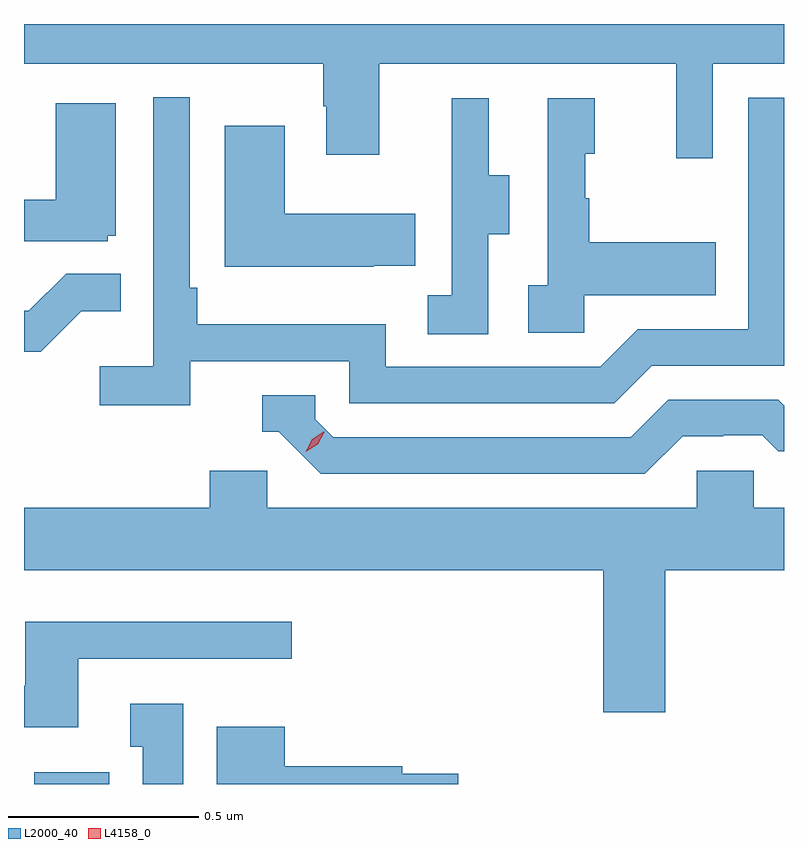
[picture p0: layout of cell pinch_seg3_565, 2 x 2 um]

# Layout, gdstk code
import gdstk
lib = gdstk.Library(unit=1e-6, precision=1e-09)
def R(c, l, rs):  # rectangles x0, y0, x1, y1
    for r in rs: c.add(gdstk.rectangle(r[:2], r[2:], *l))
def P(c, l, *ps):  # polygons
    for p in ps: c.add(gdstk.Polygon(p, *l))
L2000_40 = (2000, 40)
L4158_0 = (4158, 0)

pinch_seg3_565 = lib.new_cell('pinch_seg3_565')
R(pinch_seg3_565, L2000_40, [(1110.563,695.025,1110.76,695.056)])
P(pinch_seg3_565, L2000_40, [(1112.349,696.92),(1112.536,696.92),(1112.536,697.025),(1110.536,697.025),(1110.536,696.92),(1111.324,696.92),(1111.324,696.809),(1111.331,696.809),(1111.331,696.681),(1111.471,696.681),(1111.471,696.92),(1112.252,696.92),(1112.252,696.672),(1112.349,696.672)],
  [(1110.974,696.138),(1111.392,696.138),(1111.392,696.027),(1112.089,696.027),(1112.188,696.126),(1112.536,696.126),(1112.536,696.831),(1112.442,696.831),(1112.442,696.222),(1112.151,696.222),(1112.052,696.123),(1111.488,696.123),(1111.488,696.235),(1110.992,696.235),(1110.992,696.331),(1110.972,696.331),(1110.972,696.832),(1110.876,696.832),(1110.876,696.124),(1110.735,696.124),(1110.735,696.022),(1110.974,696.022)],
  [(1112.01,696.311),(1112.357,696.311),(1112.357,696.451),(1112.023,696.451),(1112.023,696.566),(1112.013,696.566),(1112.013,696.684),(1112.038,696.684),(1112.038,696.829),(1111.914,696.829),(1111.914,696.338),(1111.863,696.338),(1111.863,696.213),(1112.01,696.213)],
  [(1111.758,696.472),(1111.813,696.472),(1111.813,696.627),(1111.759,696.627),(1111.759,696.829),(1111.661,696.829),(1111.661,696.615),(1111.662,696.615),(1111.662,696.311),(1111.599,696.311),(1111.599,696.208),(1111.758,696.208)],
  [(1110.756,696.468),(1110.778,696.468),(1110.778,696.817),(1110.62,696.817),(1110.62,696.562),(1110.536,696.562),(1110.536,696.453),(1110.756,696.453)],
  [(1111.457,696.389),(1111.565,696.389),(1111.565,696.526),(1111.222,696.526),(1111.222,696.757),(1111.064,696.757),(1111.064,696.386),(1111.457,696.386)],
  [(1110.687,696.269),(1110.791,696.269),(1110.791,696.368),(1110.647,696.368),(1110.549,696.27),(1110.536,696.27),(1110.536,696.162),(1110.58,696.162)],
  [(1112.269,695.94),(1112.376,695.94),(1112.376,695.943),(1112.479,695.943),(1112.521,695.901),(1112.536,695.901),(1112.536,696.021),(1112.521,696.036),(1112.232,696.036),(1112.133,695.937),(1111.35,695.937),(1111.302,695.985),(1111.302,696.048),(1111.163,696.048),(1111.163,695.952),(1111.206,695.952),(1111.317,695.841),(1112.17,695.841)],
  [(1112.224,695.588),(1112.536,695.588),(1112.536,695.752),(1112.457,695.752),(1112.457,695.85),(1112.307,695.85),(1112.307,695.752),(1111.176,695.752),(1111.176,695.85),(1111.025,695.85),(1111.025,695.752),(1110.536,695.752),(1110.536,695.588),(1112.06,695.588),(1112.06,695.214),(1112.224,695.214)],
  [(1110.679,695.355),(1111.24,695.355),(1111.24,695.452),(1110.539,695.452),(1110.539,695.284),(1110.536,695.284),(1110.536,695.174),(1110.679,695.174)],
  [(1110.955,695.236),(1110.815,695.236),(1110.815,695.123),(1110.848,695.123),(1110.848,695.025),(1110.955,695.025)],
  [(1111.679,695.052),(1111.532,695.052),(1111.532,695.072),(1111.222,695.072),(1111.222,695.176),(1111.043,695.176),(1111.043,695.025),(1111.679,695.025)])
P(pinch_seg3_565, L4158_0, [(1111.278,695.9),(1111.278,695.9),(1111.294,695.932),(1111.325,695.952),(1111.326,695.952),(1111.326,695.951),(1111.309,695.919),(1111.278,695.9)])

lib.write_gds('pinch_seg3_565.gds')
